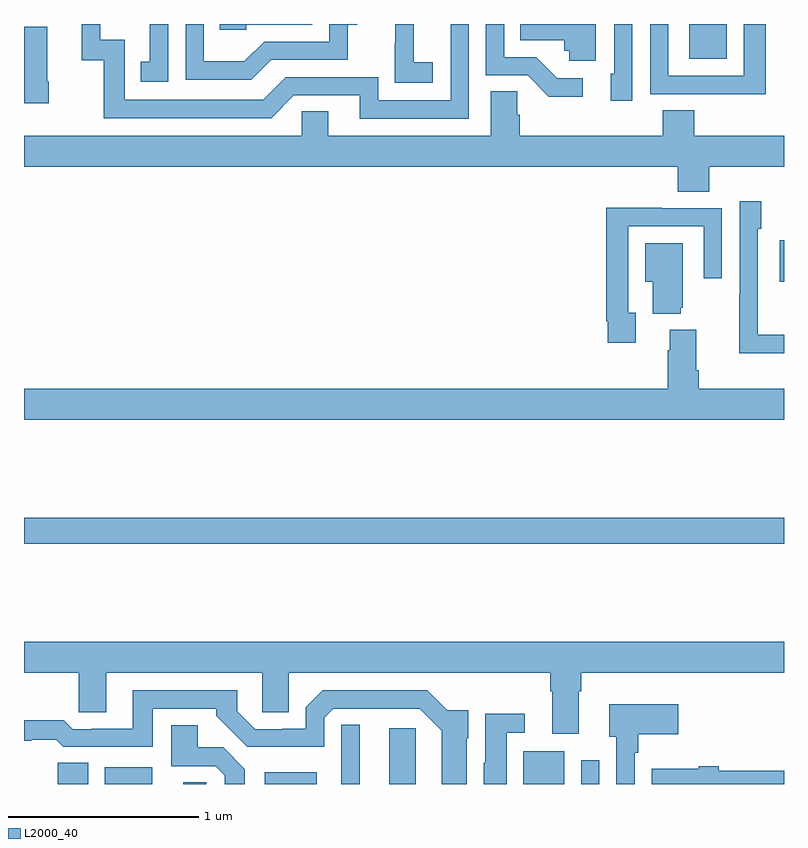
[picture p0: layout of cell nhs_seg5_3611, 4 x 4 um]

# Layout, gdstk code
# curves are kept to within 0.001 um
import gdstk
lib = gdstk.Library(unit=1e-6, precision=1e-09)
def R(c, l, rs):  # rectangles x0, y0, x1, y1
    for r in rs: c.add(gdstk.rectangle(r[:2], r[2:], *l))
def P(c, l, *ps):  # polygons
    for p in ps: c.add(gdstk.Polygon(p, *l))
L2000_40 = (2000, 40)

nhs_seg5_3611 = lib.new_cell('nhs_seg5_3611')
R(nhs_seg5_3611, L2000_40, [(323.177,898.799,323.338,898.91), (323.426,898.799,323.674,898.888), (323.838,898.799,323.958,898.807), (324.266,898.799,324.541,898.861), (324.669,898.799,324.766,899.111), (324.923,898.799,325.063,899.092), (325.628,898.799,325.843,898.972), (325.932,898.799,326.028,898.924), (323,900.064,327,900.2), (326.978,901.442,327,901.661), (326.501,902.615,326.698,902.799)])
P(nhs_seg5_3611, L2000_40, [(326.008,902.799),(325.612,902.799),(325.612,902.714),(325.843,902.714),(325.843,902.658),(325.869,902.658),(325.869,902.606),(326.008,902.606)],
  [(323.76,902.799),(323.663,902.799),(323.663,902.601),(323.614,902.601),(323.614,902.496),(323.76,902.496)],
  [(326.903,902.799),(326.787,902.799),(326.787,902.526),(326.391,902.526),(326.391,902.799),(326.295,902.799),(326.295,902.43),(326.611,902.43),(326.611,902.429),(326.903,902.429)],
  [(326.202,902.799),(326.106,902.799),(326.106,902.538),(326.087,902.538),(326.087,902.394),(326.202,902.394)],
  [(325.341,902.799),(325.245,902.799),(325.245,902.397),(324.864,902.397),(324.864,902.52),(324.378,902.52),(324.258,902.4),(323.529,902.4),(323.529,902.715),(323.4,902.715),(323.4,902.799),(323.303,902.799),(323.303,902.607),(323.421,902.607),(323.421,902.304),(324.3,902.304),(324.42,902.424),(324.767,902.424),(324.767,902.301),(325.341,902.301)],
  [(324.301,902.61),(324.705,902.61),(324.705,902.795),(324.754,902.795),(324.754,902.799),(324.606,902.799),(324.606,902.706),(324.264,902.706),(324.16,902.602),(323.946,902.602),(323.946,902.799),(323.85,902.799),(323.85,902.505),(324.196,902.505)],
  [(325.942,902.514),(325.807,902.514),(325.696,902.625),(325.527,902.625),(325.527,902.799),(325.431,902.799),(325.431,902.529),(325.65,902.529),(325.763,902.417),(325.942,902.417)],
  [(324.171,902.796),(324.516,902.796),(324.516,902.799),(324.031,902.799),(324.031,902.769),(324.171,902.769)],
  [(325.15,902.599),(325.052,902.599),(325.052,902.799),(324.953,902.799),(324.953,902.695),(324.952,902.695),(324.952,902.489),(325.15,902.489)],
  [(323.13,902.494),(323.122,902.494),(323.122,902.785),(323,902.785),(323,902.382),(323.13,902.382)],
  [(326.606,902.048),(327,902.048),(327,902.212),(326.528,902.212),(326.528,902.345),(326.363,902.345),(326.363,902.212),(325.61,902.212),(325.61,902.321),(325.596,902.321),(325.596,902.444),(325.457,902.444),(325.457,902.212),(324.601,902.212),(324.601,902.339),(324.462,902.339),(324.462,902.212),(323,902.212),(323,902.048),(326.441,902.048),(326.441,901.915),(326.606,901.915)],
  [(327,901.164),(326.862,901.164),(326.862,901.722),(326.881,901.722),(326.881,901.867),(326.766,901.867),(326.766,901.373),(326.764,901.373),(326.764,901.067),(327,901.067)],
  [(326.221,901.278),(326.181,901.278),(326.181,901.734),(326.577,901.734),(326.577,901.461),(326.673,901.461),(326.673,901.83),(326.357,901.83),(326.357,901.832),(326.065,901.832),(326.065,901.234),(326.073,901.234),(326.073,901.122),(326.221,901.122)],
  [(326.456,901.305),(326.467,901.305),(326.467,901.645),(326.27,901.645),(326.27,901.442),(326.309,901.442),(326.309,901.274),(326.456,901.274)],
  [(327,900.88),(326.552,900.88),(326.552,900.976),(326.539,900.976),(326.539,901.189),(326.399,901.189),(326.399,901.082),(326.387,901.082),(326.387,900.88),(323,900.88),(323,900.716),(327,900.716)],
  [(325.921,899.288),(325.934,899.288),(325.934,899.384),(327,899.384),(327,899.548),(323,899.548),(323,899.384),(323.288,899.384),(323.288,899.176),(323.434,899.176),(323.434,899.384),(324.254,899.384),(324.254,899.176),(324.394,899.176),(324.394,899.384),(325.769,899.384),(325.769,899.288),(325.781,899.288),(325.781,899.064),(325.921,899.064)],
  [(325.33,899.04),(325.339,899.04),(325.339,899.187),(325.228,899.187),(325.123,899.292),(324.573,899.292),(324.483,899.202),(324.483,899.091),(324.358,899.091),(324.358,899.088),(324.216,899.088),(324.122,899.183),(324.122,899.292),(323.573,899.292),(323.573,899.091),(323.356,899.091),(323.356,899.088),(323.256,899.088),(323.21,899.134),(323,899.134),(323,899.027),(323.039,899.027),(323.039,899.031),(323.17,899.031),(323.206,898.995),(323.677,898.995),(323.677,899.196),(324.012,899.196),(324.012,899.157),(324.174,898.995),(324.579,898.994),(324.579,899.148),(324.627,899.196),(325.083,899.196),(325.199,899.08),(325.199,898.799),(325.33,898.799)],
  [(326.214,898.964),(326.234,898.964),(326.234,899.06),(326.443,899.06),(326.443,899.218),(326.081,899.218),(326.081,899.048),(326.118,899.048),(326.118,898.799),(326.214,898.799)],
  [(325.54,899.07),(325.636,899.07),(325.636,899.168),(325.427,899.168),(325.427,898.911),(325.421,898.911),(325.421,898.799),(325.54,898.799)],
  [(324.163,898.877),(324.048,898.992),(323.914,898.992),(323.914,899.107),(323.774,899.107),(323.774,898.893),(324.009,898.893),(324.057,898.845),(324.057,898.799),(324.163,898.799)],
  [(327,898.868),(326.656,898.868),(326.656,898.892),(326.552,898.892),(326.552,898.879),(326.304,898.879),(326.304,898.799),(327,898.799)])

lib.write_gds('nhs_seg5_3611.gds')
